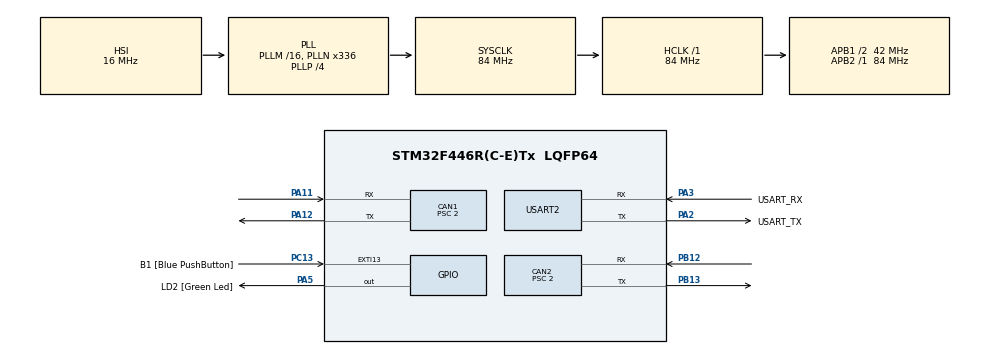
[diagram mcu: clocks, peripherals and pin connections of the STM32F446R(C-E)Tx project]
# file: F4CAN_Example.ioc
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CAN1.BS1=CAN_BS1_16TQ
CAN1.BS2=CAN_BS2_4TQ
CAN1.CalculateBaudRate=1000000
CAN1.CalculateTimeBit=1000
CAN1.CalculateTimeQuantum=47.61904761904762
CAN1.Prescaler=2
CAN2.BS1=CAN_BS1_16TQ
CAN2.BS2=CAN_BS2_4TQ
CAN2.CalculateBaudRate=1000000
CAN2.CalculateTimeBit=1000
CAN2.CalculateTimeQuantum=47.61904761904762
CAN2.Prescaler=2
Mcu.Family=STM32F4
Mcu.Name=STM32F446R(C-E)Tx
Mcu.Package=LQFP64
NVIC.CAN1_RX0_IRQn=true\:1\:0\:true\:true\:true\:2\:true\:true\:true
NVIC.CAN1_RX1_IRQn=true\:1\:0\:true\:true\:true\:1\:true\:true\:true
NVIC.CAN2_RX0_IRQn=true\:1\:0\:true\:true\:true\:5\:true\:true\:true
NVIC.CAN2_RX1_IRQn=true\:1\:0\:true\:true\:true\:6\:true\:true\:true
NVIC.PriorityGroup=NVIC_PRIORITYGROUP_2
NVIC.TIM1_BRK_TIM9_IRQn=true\:2\:0\:true\:true\:true\:3\:true\:true\:true
NVIC.USART2_IRQn=true\:0\:0\:false\:true\:true\:4\:true\:true\:true
PA11.Mode=CAN_Activate
PA11.Signal=CAN1_RX
PA12.Mode=CAN_Activate
PA12.Signal=CAN1_TX
PA13.GPIO_Label=TMS
PA13.Mode=Serial_Wire
PA13.Signal=SYS_JTMS-SWDIO
PA14.GPIO_Label=TCK
PA14.Mode=Serial_Wire
PA14.Signal=SYS_JTCK-SWCLK
PA2.GPIO_Label=USART_TX
PA2.Mode=Asynchronous
PA2.Signal=USART2_TX
PA3.GPIO_Label=USART_RX
PA3.Mode=Asynchronous
PA3.Signal=USART2_RX
PA5.GPIO_Label=LD2 [Green Led]
PA5.Signal=GPIO_Output
PB12.Mode=CAN_Activate
PB12.Signal=CAN2_RX
PB13.Mode=CAN_Activate
PB13.Signal=CAN2_TX
PB3.GPIO_Label=SWO
PB3.Signal=SYS_JTDO-SWO
PC13.GPIO_Label=B1 [Blue PushButton]
PC13.GPIO_ModeDefaultEXTI=GPIO_MODE_IT_FALLING
PC13.Signal=GPXTI13
PC14-OSC32_IN.Mode=LSE-External-Oscillator
PC14-OSC32_IN.Signal=RCC_OSC32_IN
PC15-OSC32_OUT.Mode=LSE-External-Oscillator
PC15-OSC32_OUT.Signal=RCC_OSC32_OUT
PH0-OSC_IN.Mode=HSE-External-Oscillator
PH0-OSC_IN.Signal=RCC_OSC_IN
PH1-OSC_OUT.Mode=HSE-External-Oscillator
PH1-OSC_OUT.Signal=RCC_OSC_OUT
ProjectManager.HeapSize=0x200
ProjectManager.StackSize=0x400
ProjectManager.TargetToolchain=STM32CubeIDE
RCC.48MHZClocksFreq_Value=84000000
RCC.AHBFreq_Value=84000000
RCC.APB1CLKDivider=RCC_HCLK_DIV2
RCC.APB1Freq_Value=42000000
RCC.APB1TimFreq_Value=84000000
RCC.APB2Freq_Value=84000000
RCC.APB2TimFreq_Value=84000000
RCC.CortexFreq_Value=84000000
RCC.FLatency-AdvancedSettings=FLASH_LATENCY_2
RCC.HCLKFreq_Value=84000000
RCC.HSE_VALUE=8000000
RCC.HSI_VALUE=16000000
RCC.PLLN=336
RCC.PLLP=RCC_PLLP_DIV4
RCC.SYSCLKFreq_VALUE=84000000
RCC.SYSCLKSource=RCC_SYSCLKSOURCE_PLLCLK
RCC.USBFreq_Value=168000000
RCC.VCOOutputFreq_Value=336000000
TIM1.Channel-PWM\ Generation1\ No\ Output=TIM_CHANNEL_1
USART2.VirtualMode=VM_ASYNC
VP_TIM1_VS_no_output1.Mode=PWM Generation1 No Output
board=NUCLEO-F446RE

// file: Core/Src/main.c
/* USER CODE BEGIN Header */
/**
  ******************************************************************************
  * @file           : main.c
  * @brief          : Main program body
  ******************************************************************************
  * @attention
  *
  * Copyright (c) 2025 STMicroelectronics.
  * All rights reserved.
  *
  * This software is licensed under terms that can be found in the LICENSE file
  * in the root directory of this software component.
  * If no LICENSE file comes with this software, it is provided AS-IS.
  *
  ******************************************************************************
  */
/* USER CODE END Header */
#include "main.h"
#include "COCO_firmware.h"

CAN_HandleTypeDef hcan1;
CAN_HandleTypeDef hcan2;

TIM_HandleTypeDef htim1;

UART_HandleTypeDef huart2;

/* USER CODE BEGIN PV */

Speed_Joint_Data SJ_Data;

CAN_FilterTypeDef ODrive_CAN_Filter;

CAN_RxHeaderTypeDef ODriveCAN1RxHeader;
CAN_RxHeaderTypeDef ODriveCAN2RxHeader;

/* USER CODE END PV */

void SystemClock_Config(void);
static void MX_GPIO_Init(void);
static void MX_USART2_UART_Init(void);
static void MX_CAN1_Init(void);
static void MX_CAN2_Init(void);
static void MX_TIM1_Init(void);
static void MX_NVIC_Init(void);
/* USER CODE BEGIN PFP */

static void ODrive_CAN_init();

//여기가 내가 원하는 인터럽트 함수들!!

void HAL_UART_RxCpltCallback(UART_HandleTypeDef *huart);
void HAL_CAN_RxFifo0MsgPendingCallback(CAN_HandleTypeDef *hcan);
void HAL_TIM_PeriodElapsedCallback(TIM_HandleTypeDef *htim);

/* USER CODE END PFP */

int main(void)
{

  /* MCU Configuration--------------------------------------------------------*/

  /* Reset of all peripherals, Initializes the Flash interface and the Systick. */
  HAL_Init();

  /* Configure the system clock */
  SystemClock_Config();

  /* Initialize all configured peripherals */
  MX_GPIO_Init();
  MX_USART2_UART_Init();
  MX_CAN1_Init();
  MX_CAN2_Init();
  MX_TIM1_Init();

  /* Initialize interrupts */
  MX_NVIC_Init();
  /* USER CODE BEGIN 2 */

  UART_Buffer_init(&SJ_Data, &hcan1, &hcan2);          //버퍼 초기화 실시

  ODrive_CAN_init();

  Move_To_defalt_pos(&SJ_Data);        //디폴트 상태로 이동 실시

  HAL_UART_Receive_IT(&huart2, SJ_Data.uart_rxBuffer , 16);    //16바이트의 정보가 들어오면 인터럽트 실시

  HAL_TIM_Base_Start_IT(&htim1);              //타이어 1 시작<< 항상 마지막에 호출할 것! 안그러면 무조건 오류남

  /* USER CODE END 2 */

  /* Infinite loop */
  while (1)
  {
		Send_Data_CAN(&SJ_Data);

  }
}

void SystemClock_Config(void)
{
  RCC_OscInitTypeDef RCC_OscInitStruct = {0};
  RCC_ClkInitTypeDef RCC_ClkInitStruct = {0};

  /** Configure the main internal regulator output voltage
  */
  __HAL_RCC_PWR_CLK_ENABLE();
  __HAL_PWR_VOLTAGESCALING_CONFIG(PWR_REGULATOR_VOLTAGE_SCALE3);

  /** Initializes the RCC Oscillators according to the specified parameters
  * in the RCC_OscInitTypeDef structure.
  */
  RCC_OscInitStruct.OscillatorType = RCC_OSCILLATORTYPE_HSI;
  RCC_OscInitStruct.HSIState = RCC_HSI_ON;
  RCC_OscInitStruct.HSICalibrationValue = RCC_HSICALIBRATION_DEFAULT;
  RCC_OscInitStruct.PLL.PLLState = RCC_PLL_ON;
  RCC_OscInitStruct.PLL.PLLSource = RCC_PLLSOURCE_HSI;
  RCC_OscInitStruct.PLL.PLLM = 16;
  RCC_OscInitStruct.PLL.PLLN = 336;
  RCC_OscInitStruct.PLL.PLLP = RCC_PLLP_DIV4;
  RCC_OscInitStruct.PLL.PLLQ = 2;
  RCC_OscInitStruct.PLL.PLLR = 2;
  if (HAL_RCC_OscConfig(&RCC_OscInitStruct) != HAL_OK)
  {
    Error_Handler();
  }

  /** Initializes the CPU, AHB and APB buses clocks
  */
  RCC_ClkInitStruct.ClockType = RCC_CLOCKTYPE_HCLK|RCC_CLOCKTYPE_SYSCLK
                              |RCC_CLOCKTYPE_PCLK1|RCC_CLOCKTYPE_PCLK2;
  RCC_ClkInitStruct.SYSCLKSource = RCC_SYSCLKSOURCE_PLLCLK;
  RCC_ClkInitStruct.AHBCLKDivider = RCC_SYSCLK_DIV1;
  RCC_ClkInitStruct.APB1CLKDivider = RCC_HCLK_DIV2;
  RCC_ClkInitStruct.APB2CLKDivider = RCC_HCLK_DIV1;

  if (HAL_RCC_ClockConfig(&RCC_ClkInitStruct, FLASH_LATENCY_2) != HAL_OK)
  {
    Error_Handler();
  }
}

/**
  * @brief NVIC Configuration.
  * @retval None
  */
static void MX_NVIC_Init(void)
{
  /* CAN1_RX1_IRQn interrupt configuration */
  HAL_NVIC_SetPriority(CAN1_RX1_IRQn, 1, 0);
  HAL_NVIC_EnableIRQ(CAN1_RX1_IRQn);
  /* CAN1_RX0_IRQn interrupt configuration */
  HAL_NVIC_SetPriority(CAN1_RX0_IRQn, 1, 0);
  HAL_NVIC_EnableIRQ(CAN1_RX0_IRQn);
  /* TIM1_BRK_TIM9_IRQn interrupt configuration */
  HAL_NVIC_SetPriority(TIM1_BRK_TIM9_IRQn, 2, 0);
  HAL_NVIC_EnableIRQ(TIM1_BRK_TIM9_IRQn);
  /* USART2_IRQn interrupt configuration */
  HAL_NVIC_SetPriority(USART2_IRQn, 0, 0);
  HAL_NVIC_EnableIRQ(USART2_IRQn);
  /* CAN2_RX0_IRQn interrupt configuration */
  HAL_NVIC_SetPriority(CAN2_RX0_IRQn, 1, 0);
  HAL_NVIC_EnableIRQ(CAN2_RX0_IRQn);
  /* CAN2_RX1_IRQn interrupt configuration */
  HAL_NVIC_SetPriority(CAN2_RX1_IRQn, 1, 0);
  HAL_NVIC_EnableIRQ(CAN2_RX1_IRQn);
}

static void MX_CAN1_Init(void)
{

  hcan1.Instance = CAN1;
  hcan1.Init.Prescaler = 2;
  hcan1.Init.Mode = CAN_MODE_NORMAL;
  hcan1.Init.SyncJumpWidth = CAN_SJW_1TQ;
  hcan1.Init.TimeSeg1 = CAN_BS1_16TQ;
  hcan1.Init.TimeSeg2 = CAN_BS2_4TQ;
  hcan1.Init.TimeTriggeredMode = DISABLE;
  hcan1.Init.AutoBusOff = DISABLE;
  hcan1.Init.AutoWakeUp = DISABLE;
  hcan1.Init.AutoRetransmission = DISABLE;
  hcan1.Init.ReceiveFifoLocked = DISABLE;
  hcan1.Init.TransmitFifoPriority = DISABLE;
  if (HAL_CAN_Init(&hcan1) != HAL_OK)
  {
    Error_Handler();
  }

}

static void MX_CAN2_Init(void)
{

  hcan2.Instance = CAN2;
  hcan2.Init.Prescaler = 2;
  hcan2.Init.Mode = CAN_MODE_NORMAL;
  hcan2.Init.SyncJumpWidth = CAN_SJW_1TQ;
  hcan2.Init.TimeSeg1 = CAN_BS1_16TQ;
  hcan2.Init.TimeSeg2 = CAN_BS2_4TQ;
  hcan2.Init.TimeTriggeredMode = DISABLE;
  hcan2.Init.AutoBusOff = DISABLE;
  hcan2.Init.AutoWakeUp = DISABLE;
  hcan2.Init.AutoRetransmission = DISABLE;
  hcan2.Init.ReceiveFifoLocked = DISABLE;
  hcan2.Init.TransmitFifoPriority = DISABLE;
  if (HAL_CAN_Init(&hcan2) != HAL_OK)
  {
    Error_Handler();
  }

}

static void MX_TIM1_Init(void)
{

  TIM_MasterConfigTypeDef sMasterConfig = {0};
  TIM_OC_InitTypeDef sConfigOC = {0};
  TIM_BreakDeadTimeConfigTypeDef sBreakDeadTimeConfig = {0};

  htim1.Instance = TIM1;
  htim1.Init.Prescaler = 335;
  htim1.Init.CounterMode = TIM_COUNTERMODE_UP;
  htim1.Init.Period = 1000;
  htim1.Init.ClockDivision = TIM_CLOCKDIVISION_DIV1;
  htim1.Init.RepetitionCounter = 0;
  htim1.Init.AutoReloadPreload = TIM_AUTORELOAD_PRELOAD_DISABLE;
  if (HAL_TIM_PWM_Init(&htim1) != HAL_OK)
  {
    Error_Handler();
  }
  sMasterConfig.MasterOutputTrigger = TIM_TRGO_RESET;
  sMasterConfig.MasterSlaveMode = TIM_MASTERSLAVEMODE_DISABLE;
  if (HAL_TIMEx_MasterConfigSynchronization(&htim1, &sMasterConfig) != HAL_OK)
  {
    Error_Handler();
  }
  sConfigOC.OCMode = TIM_OCMODE_PWM1;
  sConfigOC.Pulse = 0;
  sConfigOC.OCPolarity = TIM_OCPOLARITY_HIGH;
  sConfigOC.OCNPolarity = TIM_OCNPOLARITY_HIGH;
  sConfigOC.OCFastMode = TIM_OCFAST_DISABLE;
  sConfigOC.OCIdleState = TIM_OCIDLESTATE_RESET;
  sConfigOC.OCNIdleState = TIM_OCNIDLESTATE_RESET;
  if (HAL_TIM_PWM_ConfigChannel(&htim1, &sConfigOC, TIM_CHANNEL_1) != HAL_OK)
  {
    Error_Handler();
  }
  sBreakDeadTimeConfig.OffStateRunMode = TIM_OSSR_DISABLE;
  sBreakDeadTimeConfig.OffStateIDLEMode = TIM_OSSI_DISABLE;
  sBreakDeadTimeConfig.LockLevel = TIM_LOCKLEVEL_OFF;
  sBreakDeadTimeConfig.DeadTime = 0;
  sBreakDeadTimeConfig.BreakState = TIM_BREAK_DISABLE;
  sBreakDeadTimeConfig.BreakPolarity = TIM_BREAKPOLARITY_HIGH;
  sBreakDeadTimeConfig.AutomaticOutput = TIM_AUTOMATICOUTPUT_DISABLE;
  if (HAL_TIMEx_ConfigBreakDeadTime(&htim1, &sBreakDeadTimeConfig) != HAL_OK)
  {
    Error_Handler();
  }

}

static void MX_USART2_UART_Init(void)
{

  huart2.Instance = USART2;
  huart2.Init.BaudRate = 115200;
  huart2.Init.WordLength = UART_WORDLENGTH_8B;
  huart2.Init.StopBits = UART_STOPBITS_1;
  huart2.Init.Parity = UART_PARITY_NONE;
  huart2.Init.Mode = UART_MODE_TX_RX;
  huart2.Init.HwFlowCtl = UART_HWCONTROL_NONE;
  huart2.Init.OverSampling = UART_OVERSAMPLING_16;
  if (HAL_UART_Init(&huart2) != HAL_OK)
  {
    Error_Handler();
  }

}

static void MX_GPIO_Init(void)
{
  GPIO_InitTypeDef GPIO_InitStruct = {0};

  /* GPIO Ports Clock Enable */
  __HAL_RCC_GPIOC_CLK_ENABLE();
  __HAL_RCC_GPIOH_CLK_ENABLE();
  __HAL_RCC_GPIOA_CLK_ENABLE();
  __HAL_RCC_GPIOB_CLK_ENABLE();

  /*Configure GPIO pin Output Level */
  HAL_GPIO_WritePin(LD2_GPIO_Port, LD2_Pin, GPIO_PIN_RESET);

  /*Configure GPIO pin : B1_Pin */
  GPIO_InitStruct.Pin = B1_Pin;
  GPIO_InitStruct.Mode = GPIO_MODE_IT_FALLING;
  GPIO_InitStruct.Pull = GPIO_NOPULL;
  HAL_GPIO_Init(B1_GPIO_Port, &GPIO_InitStruct);

  /*Configure GPIO pin : LD2_Pin */
  GPIO_InitStruct.Pin = LD2_Pin;
  GPIO_InitStruct.Mode = GPIO_MODE_OUTPUT_PP;
  GPIO_InitStruct.Pull = GPIO_NOPULL;
  GPIO_InitStruct.Speed = GPIO_SPEED_FREQ_LOW;
  HAL_GPIO_Init(LD2_GPIO_Port, &GPIO_InitStruct);

}

/* USER CODE BEGIN 4 */

//inturrupt functions
void HAL_UART_RxCpltCallback(UART_HandleTypeDef *huart){
	//여기에 원하는 시리얼통신 수신 인터럽트 콜백함수 만들기
	//시리얼로 받은 데이터를 가공해서 우리의 SJ_data 의 값을 덮어 씌울 것임

	HAL_UART_Receive_IT(&huart2, SJ_Data.uart_rxBuffer , 16);  //
}

void HAL_CAN_RxFifo0MsgPendingCallback(CAN_HandleTypeDef *hcan){
	//여기에 원하는 CAN통신 rx 수신 인터럽트 작성

}

void HAL_TIM_PeriodElapsedCallback(TIM_HandleTypeDef *htim){
	//여기에 CAN 수신 코드 작성. 이거는 뭐 타이머 오버플로 인터럽트 기반임
	Send_Data_CAN(&SJ_Data);

}

static void ODrive_CAN_init(){
	ODrive_CAN_Filter.FilterBank = 0;
	ODrive_CAN_Filter.FilterMode = CAN_FILTERMODE_IDMASK;
	ODrive_CAN_Filter.FilterScale = CAN_FILTERSCALE_32BIT;
	ODrive_CAN_Filter.FilterIdHigh = 0x0000;
	ODrive_CAN_Filter.FilterIdLow = 0x0000;
	ODrive_CAN_Filter.FilterMaskIdHigh = 0x0000;
	ODrive_CAN_Filter.FilterMaskIdLow = 0x0000;
	ODrive_CAN_Filter.FilterFIFOAssignment = CAN_RX_FIFO0;
	ODrive_CAN_Filter.FilterActivation = ENABLE;
	ODrive_CAN_Filter.SlaveStartFilterBank = 14;

	HAL_CAN_ConfigFilter(&hcan1, &ODrive_CAN_Filter);
	HAL_CAN_Start(&hcan1);
	HAL_CAN_ActivateNotification(&hcan1, CAN_IT_RX_FIFO0_MSG_PENDING);

	HAL_CAN_ConfigFilter(&hcan2, &ODrive_CAN_Filter);
	HAL_CAN_Start(&hcan2);
	HAL_CAN_ActivateNotification(&hcan2, CAN_IT_RX_FIFO0_MSG_PENDING);

}

/* USER CODE END 4 */

void Error_Handler(void)
{
  __disable_irq();
  while (1)
  {
  }
}
